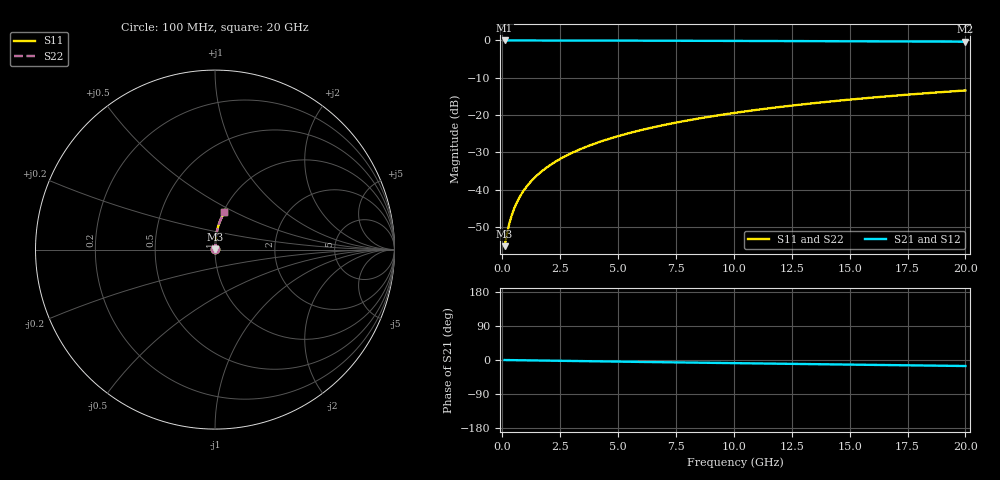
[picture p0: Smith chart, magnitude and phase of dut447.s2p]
! Touchstone file exported from HFSS 2024.1.0
!  File:  C:/UserFiles/LocalFiles/RDL_TSV_Batchsim/temp_RDL_top_447_1779676978.aedt
!  Generated:  10:45:16 AM May 25, 2026
!  Design:  RDL_top
!  Project:  temp_RDL_top_447_1779676978
!  Setup:  Setup1
!  Solution:  Sweep
! Variables:
!  dtsv = 10.80580581um
!  hbump = 3um
!  htsv = 67.96um
!  ldown = 100um
!  lrdl = 143.57um
!  p = 40
!  p1 = 59.57um
!  rhole = 1um
!  t = 450um
!  tdown = 3.915915916um
!  trdl = 2.74um
!  wdown = 15.38538539um
!  wrdl = 16.29um
# GHz S MA R 50.000000
! Terminal data exported
! Port[1] = Box2_T1
! Port[2] = Box2_T2
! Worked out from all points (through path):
!   200 points, 100 MHz to 20 GHz, reference 50 ohm
!   highest |S21| = -0.01 dB at 100 MHz (marker M1); lowest = -0.3 dB at 20 GHz (marker M2)
!   group delay of S21, straight-line fit = 2.19 ps
!   lowest |S11| = -55.1 dB at 100 MHz (marker M3), VSWR 1.00, Z = 50.1 + j0.108 ohm
!   |S11| at or under -10 dB: start of sweep to end of sweep
!   |S22| runs from -55.1 to -13.4 dB; largest |S21 - S12| = 2.7e-15
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0.1  0.001761 37.5  0.9986 -0.1  0.9986 -0.1  0.001761 37.5
! Gamma 0 0 0 0
! Port Impedance 50 0 50 0
0.2  0.002566 56.4  0.9986 -0.2  0.9986 -0.2  0.002566 56.4
0.3  0.003507 65.6  0.9985 -0.3  0.9985 -0.3  0.003507 65.6
0.4  0.00449 70.7  0.9985 -0.4  0.9985 -0.4  0.00449 70.7
0.5  0.005488 74.0  0.9984 -0.4  0.9984 -0.4  0.005488 74.0
0.6  0.006492 76.2  0.9984 -0.5  0.9984 -0.5  0.006492 76.2
0.8  0.008507 79.1  0.9983 -0.7  0.9983 -0.7  0.008507 79.1
1.1  0.01154 81.7  0.9981 -1.0  0.9981 -1.0  0.01154 81.7
1.5  0.01562 83.6  0.9979 -1.3  0.9979 -1.3  0.01562 83.6
1.8  0.0187 84.4  0.9977 -1.6  0.9977 -1.6  0.0187 84.4
2.1  0.02179 85.0  0.9975 -1.8  0.9975 -1.8  0.02179 85.0
2.7  0.02801 85.8  0.997 -2.3  0.997 -2.3  0.02801 85.8
3.5  0.03637 86.2  0.9961 -3.0  0.9961 -3.0  0.03637 86.2
4.2  0.04377 86.4  0.9952 -3.6  0.9952 -3.6  0.04377 86.4
5  0.0523 86.3  0.994 -4.3  0.994 -4.3  0.0523 86.3
5.9  0.06198 86.1  0.9926 -5.0  0.9926 -5.0  0.06198 86.1
6.8  0.07174 85.7  0.991 -5.7  0.991 -5.7  0.07174 85.7
8.3  0.08813 84.9  0.9882 -7.0  0.9882 -7.0  0.08813 84.9
10.1  0.1079 83.7  0.9846 -8.4  0.9846 -8.4  0.1079 83.7
13.4  0.1439 81.2  0.9775 -10.9  0.9775 -10.9  0.1439 81.2
16.7  0.1794 78.6  0.9696 -13.4  0.9696 -13.4  0.1794 78.6
20  0.2139 76.1  0.9611 -15.9  0.9611 -15.9  0.2139 76.1
